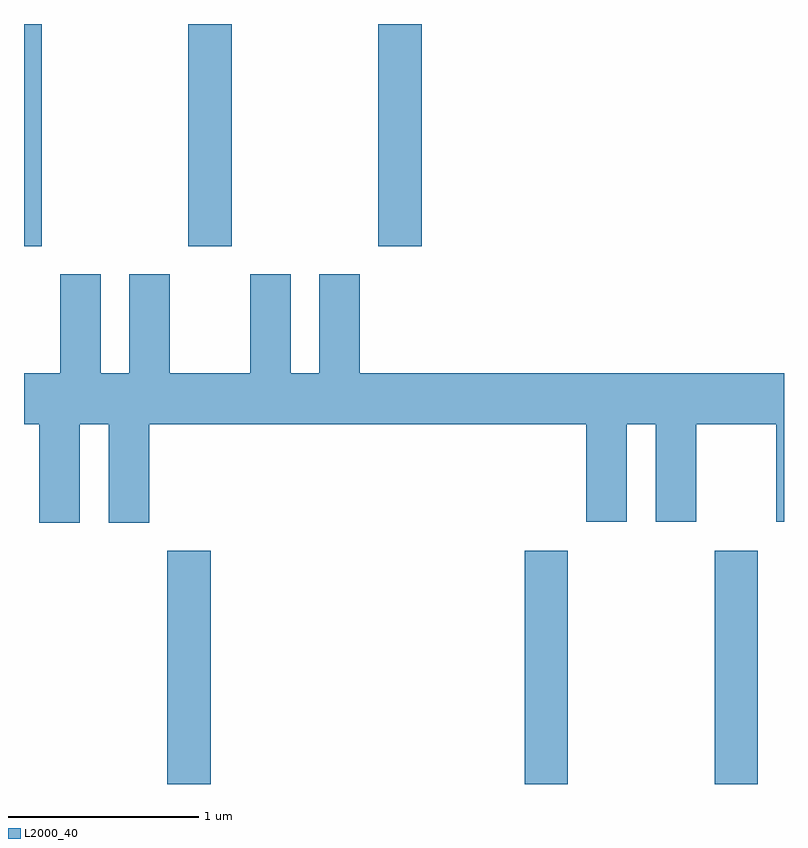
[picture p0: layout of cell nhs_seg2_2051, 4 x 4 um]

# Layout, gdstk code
import gdstk
lib = gdstk.Library(unit=1e-6, precision=1e-09)
def R(c, l, rs):  # rectangles x0, y0, x1, y1
    for r in rs: c.add(gdstk.rectangle(r[:2], r[2:], *l))
def P(c, l, *ps):  # polygons
    for p in ps: c.add(gdstk.Polygon(p, *l))
L2000_40 = (2000, 40)

nhs_seg2_2051 = lib.new_cell('nhs_seg2_2051')
R(nhs_seg2_2051, L2000_40, [(246.366,999.802,246.594,1001.029), (248.246,999.802,248.474,1001.029), (249.246,999.802,249.474,1001.029), (245.611,1002.631,245.704,1003.802), (246.476,1002.631,246.704,1003.802), (247.476,1002.631,247.704,1003.802)])
P(nhs_seg2_2051, L2000_40, [(245.904,1001.696),(246.056,1001.696),(246.056,1001.176),(246.269,1001.176),(246.269,1001.696),(248.571,1001.696),(248.571,1001.181),(248.784,1001.181),(248.784,1001.696),(248.936,1001.696),(248.936,1001.181),(249.149,1001.181),(249.149,1001.696),(249.571,1001.696),(249.571,1001.181),(249.611,1001.181),(249.611,1001.964),(247.379,1001.964),(247.379,1002.484),(247.166,1002.484),(247.166,1001.964),(247.014,1001.964),(247.014,1002.484),(246.801,1002.484),(246.801,1001.964),(246.379,1001.964),(246.379,1002.484),(246.166,1002.484),(246.166,1001.964),(246.014,1001.964),(246.014,1002.484),(245.801,1002.484),(245.801,1001.964),(245.611,1001.964),(245.611,1001.696),(245.691,1001.696),(245.691,1001.176),(245.904,1001.176)])

lib.write_gds('nhs_seg2_2051.gds')
